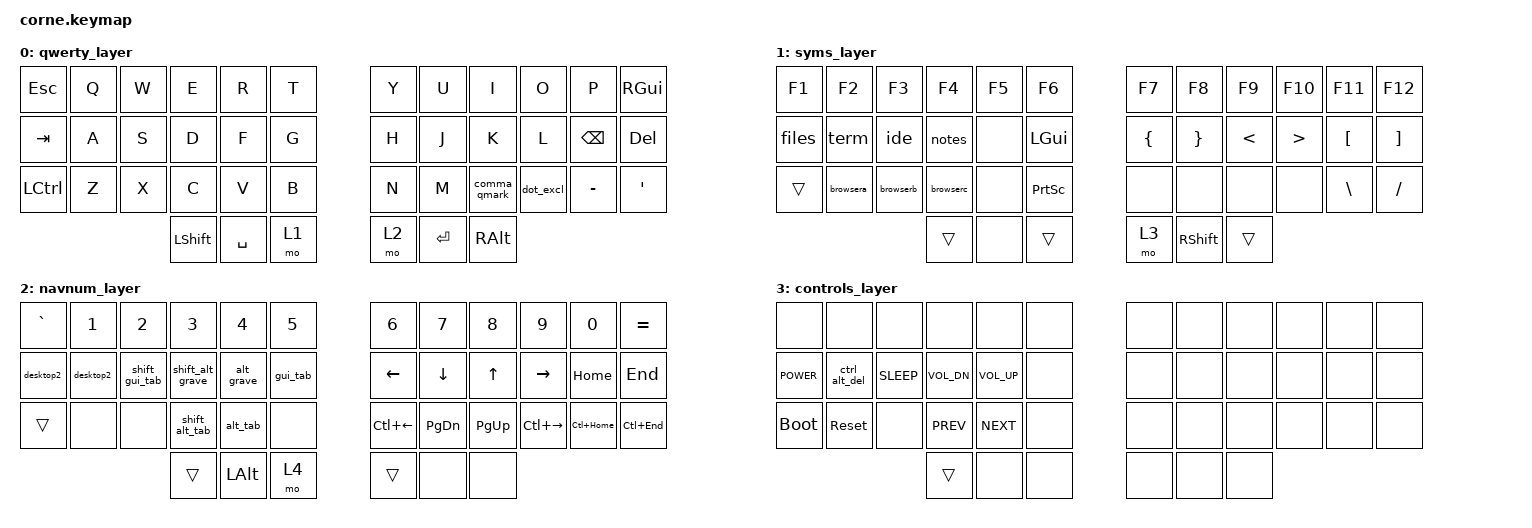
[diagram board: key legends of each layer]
#include <behaviors.dtsi>
#include <dt-bindings/zmk/keys.h>

/ {
    behaviors {
        comma_qmark: comma_question_mark {
            compatible = "zmk,behavior-mod-morph";
            label = "COMMA_QUESTION";
            #binding-cells = <0>;
            bindings = <&kp COMMA>, <&kp QMARK>;
            mods = <(MOD_LSFT|MOD_RSFT)>;
        };

        dot_excl: dot_exclamation {
            compatible = "zmk,behavior-mod-morph";
            label = "DOT_EXCLAMATION";
            #binding-cells = <0>;
            bindings = <&kp DOT>, <&kp EXCL>;
            mods = <(MOD_LSFT|MOD_RSFT)>;
        };

        plus_equal: plus_equal {
            compatible = "zmk,behavior-mod-morph";
            label = "PLUS_EQUAL";
            #binding-cells = <0>;
            bindings = <&kp PLUS>, <&kp EQUAL>;
            mods = <(MOD_LSFT|MOD_RSFT)>;
        };

        semi_colon_combo: semi_colon_combo {
            compatible = "zmk,behavior-mod-morph";
            label = "SEMI_COLON_COMBO";
            #binding-cells = <0>;
            bindings = <&kp SEMI>, <&kp COLON>;
            mods = <(MOD_LSFT|MOD_RSFT)>;
        };

        shift_caps: shift_caps {
            compatible = "zmk,behavior-tap-dance";
            label = "SHIFT_CAPS";
            #binding-cells = <0>;
            tapping-term-ms = <200>;
            bindings = <&kp LSHFT>, <&caps_word_toggle>;
        };

    };

    combos {
        compatible = "zmk,combos";

        combo_semicolon {
            timeout-ms = <50>;
            key-positions = <33 32>; // Comma and period
            bindings = <&semi_colon_combo>;
            layers = <0 4>;  // Active in both QWERTY and Colemak
        };

        combo_play_pause {
            timeout-ms = <50>;
            key-positions = <28 27>; // Prev and next in controls layer
            bindings = <&kp C_PP>;
            layers = <3>;
        };

        combo_mute {
            timeout-ms = <50>;
            key-positions = <16 15>; // Volume down and up in controls layer
            bindings = <&kp C_MUTE>;
            layers = <3>;
        };

        combo_pipe {
            timeout-ms = <50>;  // How long you have to press both keys
            key-positions = <34 35>;  // Replace with your actual key positions
            bindings = <&kp PIPE>;  // This outputs the pipe character
        };
    };

    macros {
        desktop1: desktop1 {
            label = "DESKTOP_1";
            compatible = "zmk,behavior-macro";
            #binding-cells = <0>;
            bindings =
                <&macro_press>,
                <&kp LGUI>,
                <&macro_tap>,
                <&kp KP_N1>,
                <&macro_release>,
                <&kp LGUI>;
        };

        desktop2: desktop2 {
            compatible = "zmk,behavior-macro";
            label = "DESKTOP_2";
            #binding-cells = <0>;
            bindings =
                <&macro_press>,
                <&kp LGUI>,
                <&macro_tap>,
                <&kp KP_N2>,
                <&macro_release>,
                <&kp LGUI>;
        };

        ctrl_alt_del: ctrl_alt_del {
            label = "CTRL_ALT_DEL";
            compatible = "zmk,behavior-macro";
            #binding-cells = <0>;
            bindings =
                <&macro_press>,
                <&kp LCTRL &kp LALT>,
                <&macro_tap>,
                <&kp DEL>,
                <&macro_release>,
                <&kp LCTRL &kp LALT>;
        };

        caps_word_toggle: caps_word_toggle {
            label = "CAPS_WORD_TOGGLE";
            compatible = "zmk,behavior-macro";
            #binding-cells = <0>;
            bindings = <&caps_word>;
        };


        // Windows/Apps key combos
        shift_gui_tab: shift_gui_tab {
            label = "SHIFT_GUI_TAB";
            compatible = "zmk,behavior-macro";
            #binding-cells = <0>;
            bindings =
                <&macro_press>,
                <&kp LSHFT &kp LGUI>,
                <&macro_tap>,
                <&kp TAB>,
                <&macro_release>,
                <&kp LSHFT &kp LGUI>;
        };

        shift_alt_tab: shift_alt_tab {
            label = "SHIFT_ALT_TAB";
            compatible = "zmk,behavior-macro";
            #binding-cells = <0>;
            bindings =
                <&macro_press>,
                <&kp LSHFT &kp LALT>,
                <&macro_tap>,
                <&kp TAB>,
                <&macro_release>,
                <&kp LSHFT &kp LALT>;
        };

        shift_alt_grave: shift_alt_grave {
            label = "SHIFT_ALT_GRAVE";
            compatible = "zmk,behavior-macro";
            #binding-cells = <0>;
            bindings =
                <&macro_press>,
                <&kp LSHFT &kp LALT>,
                <&macro_tap>,
                <&kp GRAVE>,
                <&macro_release>,
                <&kp LSHFT &kp LALT>;
        };

        gui_tab: gui_tab {
            label = "GUI_TAB";
            compatible = "zmk,behavior-macro";
            #binding-cells = <0>;
            bindings =
                <&macro_press>,
                <&kp LGUI>,
                <&macro_tap>,
                <&kp TAB>,
                <&macro_release>,
                <&kp LGUI>;
        };

        alt_tab: alt_tab {
            label = "ALT_TAB";
            compatible = "zmk,behavior-macro";
            #binding-cells = <0>;
            bindings =
                <&macro_press>,
                <&kp LALT>,
                <&macro_tap>,
                <&kp TAB>,
                <&macro_release>,
                <&kp LALT>;
        };

        alt_grave: alt_grave {
            label = "ALT_GRAVE";
            compatible = "zmk,behavior-macro";
            #binding-cells = <0>;
            bindings =
                <&macro_press>,
                <&kp LALT>,
                <&macro_tap>,
                <&kp GRAVE>,
                <&macro_release>,
                <&kp LALT>;
        };


        // Application launcher macros using Ctrl+Alt+Super+Number combinations
        files: files {
            label = "FILES";
            compatible = "zmk,behavior-macro";
            #binding-cells = <0>;
            bindings = 
                <&macro_press>,
                <&kp LCTRL &kp LALT &kp LGUI>,
                <&macro_tap>,
                <&kp N1>,
                <&macro_release>,
                <&kp LCTRL &kp LALT &kp LGUI>;
        };

        term: term {
            label = "TERMINAL";
            compatible = "zmk,behavior-macro";
            #binding-cells = <0>;
            bindings = 
                <&macro_press>,
                <&kp LCTRL &kp LALT &kp LGUI>,
                <&macro_tap>,
                <&kp N2>,
                <&macro_release>,
                <&kp LCTRL &kp LALT &kp LGUI>;
        };

        ide: ide {
            label = "IDE";
            compatible = "zmk,behavior-macro";
            #binding-cells = <0>;
            bindings = 
                <&macro_press>,
                <&kp LCTRL &kp LALT &kp LGUI>,
                <&macro_tap>,
                <&kp N3>,
                <&macro_release>,
                <&kp LCTRL &kp LALT &kp LGUI>;
        };

        notes: notes {
            label = "NOTES";
            compatible = "zmk,behavior-macro";
            #binding-cells = <0>;
            bindings = 
                <&macro_press>,
                <&kp LCTRL &kp LALT &kp LGUI>,
                <&macro_tap>,
                <&kp N4>,
                <&macro_release>,
                <&kp LCTRL &kp LALT &kp LGUI>;
        };

        browsera: browsera {
            label = "BROWSER_A";
            compatible = "zmk,behavior-macro";
            #binding-cells = <0>;
            bindings = 
                <&macro_press>,
                <&kp LCTRL &kp LALT &kp LGUI>,
                <&macro_tap>,
                <&kp N5>,
                <&macro_release>,
                <&kp LCTRL &kp LALT &kp LGUI>;
        };

        browserb: browserb {
            label = "BROWSER_B";
            compatible = "zmk,behavior-macro";
            #binding-cells = <0>;
            bindings = 
                <&macro_press>,
                <&kp LCTRL &kp LALT &kp LGUI>,
                <&macro_tap>,
                <&kp N6>,
                <&macro_release>,
                <&kp LCTRL &kp LALT &kp LGUI>;
        };

        browserc: browserc {
            label = "BROWSER_C";
            compatible = "zmk,behavior-macro";
            #binding-cells = <0>;
            bindings = 
                <&macro_press>,
                <&kp LCTRL &kp LALT &kp LGUI>,
                <&macro_tap>,
                <&kp N7>,
                <&macro_release>,
                <&kp LCTRL &kp LALT &kp LGUI>;
        };  

    };

    keymap {
        compatible = "zmk,keymap";

        qwerty_layer {
            bindings = <
&kp ESC           &kp Q  &kp W  &kp E           &kp R      &kp T    &kp Y  &kp U      &kp I          &kp O      &kp P          &kp RGUI
&kp TAB           &kp A  &kp S  &kp D           &kp F      &kp G    &kp H  &kp J      &kp K          &kp L      &kp BACKSPACE  &kp DEL
&kp LEFT_CONTROL  &kp Z  &kp X  &kp C           &kp V      &kp B    &kp N  &kp M      &comma_qmark   &dot_excl  &kp MINUS      &kp SINGLE_QUOTE
                                &kp LEFT_SHIFT  &kp SPACE  &mo 1    &mo 2  &kp ENTER  &kp RIGHT_ALT
            >;
        };

        syms_layer {
            bindings = <
&kp F1     &kp F2             &kp F3        &kp F4        &kp F5        &kp F6           &kp F7          &kp F8           &kp F9         &kp F10               &kp F11                &kp F12
&files     &term              &ide          &notes        &none         &kp LGUI         &kp LEFT_BRACE  &kp RIGHT_BRACE  &kp LESS_THAN  &kp GREATER_THAN      &kp LEFT_BRACKET       &kp RIGHT_BRACKET
&trans     &browsera          &browserb     &browserc     &none         &kp PRINTSCREEN  &none           &none            &none          &none                 &kp BACKSLASH          &kp SLASH
                                            &trans        &none         &trans           &mo 3           &kp RIGHT_SHIFT     &trans
            >;
        };

        navnum_layer {
            bindings = <
&kp GRAVE   &kp NUMBER_1     &kp NUMBER_2     &kp NUMBER_3      &kp NUMBER_4     &kp NUMBER_5       &kp NUMBER_6  &kp NUMBER_7  &kp NUMBER_8  &kp NUMBER_9  &kp NUMBER_0  &kp EQUAL
&desktop2   &desktop2        &shift_gui_tab   &shift_alt_grave  &alt_grave       &gui_tab           &kp LEFT      &kp DOWN      &kp UP        &kp RIGHT     &kp HOME      &kp END
&trans      &none            &none            &shift_alt_tab    &alt_tab         &none              &kp LC(LEFT)  &kp PG_DN     &kp PG_UP     &kp LC(RIGHT) &kp LC(HOME)  &kp LC(END)
                             &trans           &kp LEFT_ALT      &mo 4            &trans             &none         &none
            >;
        };

        controls_layer {
            bindings = <
&none        &none          &none        &none         &none         &none     &none   &none   &none   &none    &none    &none
&kp C_POWER  &ctrl_alt_del  &kp C_SLEEP  &kp C_VOL_DN  &kp C_VOL_UP  &none     &none   &none   &none   &none    &none    &none
&bootloader  &sys_reset     &none        &kp C_PREV    &kp C_NEXT    &none     &none   &none   &none   &none    &none    &none
                                         &trans        &none         &none     &none   &none   &none
            >;
        };

        /*
        colemak_layer {
            bindings = <
&kp ESC           &kp Q  &kp W  &kp F        &kp P      &kp B    &kp J  &kp L      &kp U          &kp Y      &kp BACKSPACE  &kp DEL
&kp LEFT_GUI      &kp A  &kp R  &kp S        &kp T      &kp G    &kp M  &kp N      &kp E          &kp I      &kp O          &kp TAB
&kp LEFT_CONTROL  &kp Z  &kp X  &kp C        &kp D      &kp V    &kp K  &kp H      &comma_qmark   &dot_excl  &kp MINUS      &kp SINGLE_QUOTE
                                &shift_caps  &kp SPACE  &mo 1    &mo 2  &kp ENTER  &kp RIGHT_ALT
            >;
        };
*/
    };
};
